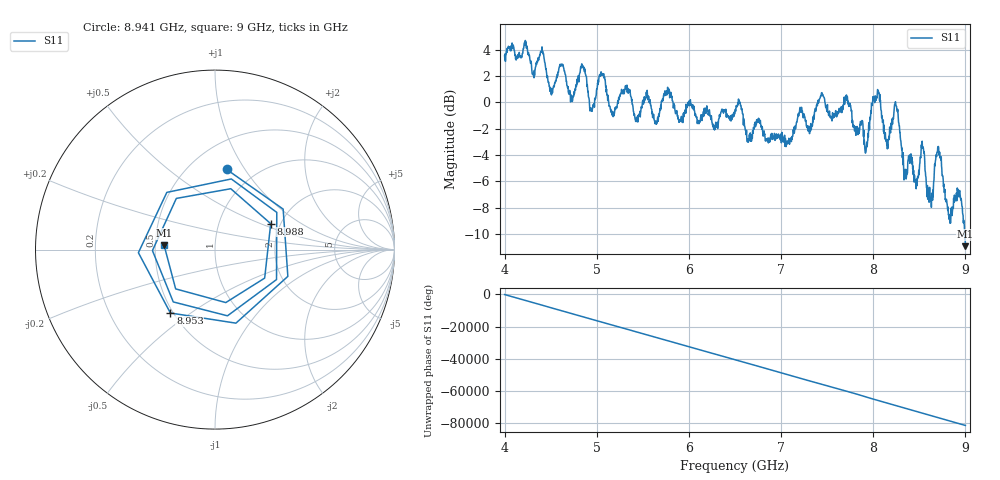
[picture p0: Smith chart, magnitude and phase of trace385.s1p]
! Created with skrf 1.8.0 (http://scikit-rf.org).
# Hz S RI R 50.0
!freq ReS11 ImS11
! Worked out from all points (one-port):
!   1601 points, 4 GHz to 9 GHz, reference 50 ohm
!   lowest |S11| = -10.9 dB at 9 GHz (marker M1), VSWR 1.79, Z = 27.9 + j1.43 ohm
!   |S11| at or under -10 dB: 8.99146 GHz to end of sweep
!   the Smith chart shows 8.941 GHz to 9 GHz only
!   S11 on the Smith chart (normalised r, x): 8.941 GHz: 0.74, +0.83; 8.953 GHz: 0.48, -0.42; 8.988 GHz: 1.78, +0.58; 9 GHz: 0.56, +0.03
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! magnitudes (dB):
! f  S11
! 4 GHz  3.6
! 4.406 GHz  4.2
! 4.509 GHz  0.6
! 4.625 GHz  2.8
! 4.725 GHz  0.6
! 4.85 GHz  2.7
! 4.947 GHz  -0.7
! 5.053 GHz  2.1
! 5.166 GHz  -0.9
! 5.25 GHz  0.5
! 5.875 GHz  -1.1
! 6.5 GHz  -0.8
! 7.125 GHz  -2.6
! 7.441 GHz  0.7
! 7.75 GHz  -0.3
! 7.922 GHz  -3.7
! 8.031 GHz  0.2
! 8.15 GHz  -2.8
! 8.247 GHz  -0.3
! 8.375 GHz  -4.5
! 8.534 GHz  -3.5
! 8.619 GHz  -7.3
! 8.706 GHz  -3.3
! 8.825 GHz  -8.5
! 8.941 GHz  -6.9
! 8.953 GHz  -7.3
! 8.988 GHz  -9.3
! 9 GHz  -10.9
